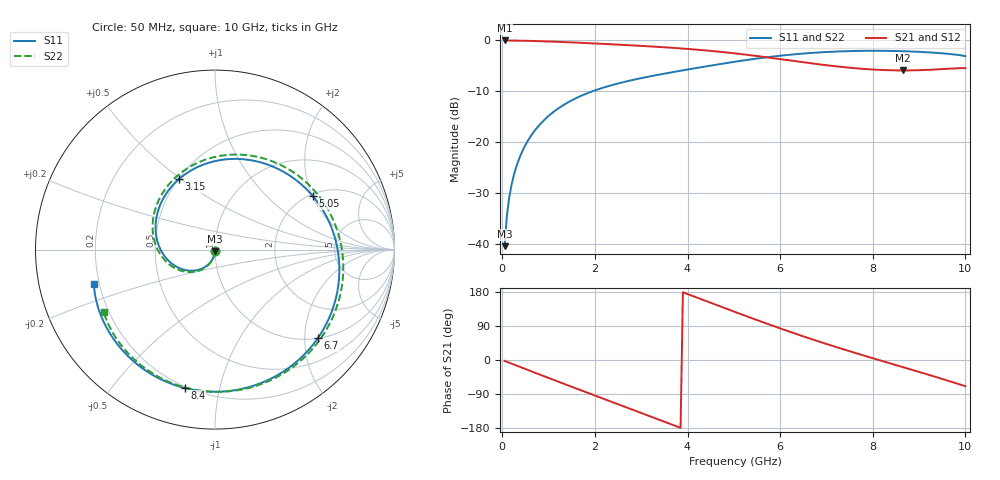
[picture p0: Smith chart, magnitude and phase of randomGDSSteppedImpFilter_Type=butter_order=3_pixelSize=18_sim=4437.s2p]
! freq	dB(S11)	phase(S11)	dB(S12)	phase(S12)
!  dB(S21)	phase(S21)	dB(S22)	phase(S22)
!S-par simulation data
#  GHz  S  DB  R 50
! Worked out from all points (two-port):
!   200 points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, 50 MHz to 10 GHz, reference 50 ohm
!   highest |S21| = 0.00 dB at 50 MHz (marker M1); lowest = -5.9 dB at 8.65 GHz (marker M2)
!   |S21| within 3 dB of the highest: start of sweep to 5.456 GHz
!   lowest |S11| = -40.3 dB at 50 MHz (marker M3), VSWR 1.02, Z = 50 - j0.96 ohm
!   |S11| at or under -10 dB: start of sweep to 1.939 GHz
!   |S22| runs from -40.4 to -2.0 dB; largest |S21 - S12| = 0
!   S11 on the Smith chart (normalised r, x): 50 MHz: 1.00, -0.02; 3.15 GHz: 0.50, +0.49; 5.05 GHz: 2.07, +2.01; 6.7 GHz: 1.02, -2.33; 8.4 GHz: 0.19, -0.79; 10 GHz: 0.18, -0.14
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0.05  -40.35 -91.2  -0.00 -2.4  -0.00 -2.4  -40.37 -91.1
0.1  -34.29 -94.6  -0.01 -4.8  -0.01 -4.8  -34.29 -94.2
0.2  -28.31 -100.1  -0.02 -9.6  -0.02 -9.6  -28.31 -99.5
0.35  -23.53 -107.7  -0.04 -16.7  -0.04 -16.7  -23.53 -106.6
0.5  -20.50 -115.2  -0.07 -23.8  -0.07 -23.8  -20.50 -113.6
1.15  -13.71 -147.1  -0.25 -54.5  -0.25 -54.5  -13.71 -143.4
1.75  -10.67 -176.0  -0.49 -82.3  -0.49 -82.3  -10.68 -170.3
2.4  -8.68 152.9  -0.78 -112.2  -0.78 -112.2  -8.68 160.8
3.15  -7.12 117.2  -1.14 -146.7  -1.14 -146.7  -7.12 127.5
3.4  -6.68 105.4  -1.28 -158.2  -1.28 -158.2  -6.69 116.3
4.15  -5.47 70.1  -1.77 167.1  -1.77 167.1  -5.48 82.4
4.6  -4.79 49.2  -2.13 146.3  -2.13 146.3  -4.79 61.9
5.05  -4.14 28.8  -2.56 125.6  -2.56 125.6  -4.15 41.4
5.45  -3.61 11.1  -3.00 107.6  -3.00 107.6  -3.62 23.5
5.9  -3.10 -8.2  -3.54 87.7  -3.54 87.7  -3.10 3.7
6.7  -2.43 -40.5  -4.52 54.2  -4.52 54.2  -2.43 -29.6
7.55  -2.08 -72.2  -5.40 21.3  -5.40 21.3  -2.06 -62.1
8.35  -2.05 -100.5  -5.84 -8.0  -5.84 -8.0  -2.02 -90.6
8.4  -2.06 -102.2  -5.85 -9.8  -5.85 -9.8  -2.03 -92.3
8.65  -2.11 -111.0  -5.88 -18.8  -5.88 -18.8  -2.08 -101.0
9.35  -2.42 -136.4  -5.70 -44.3  -5.70 -44.3  -2.38 -125.5
10  -3.08 -163.9  -5.44 -69.1  -5.44 -69.1  -2.97 -150.6
